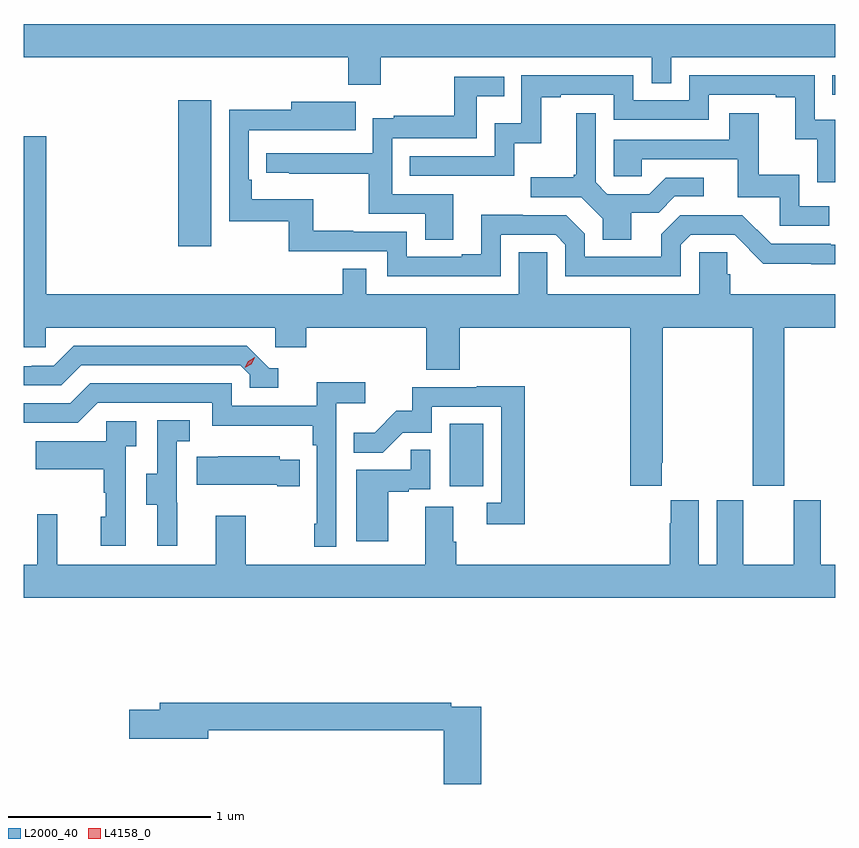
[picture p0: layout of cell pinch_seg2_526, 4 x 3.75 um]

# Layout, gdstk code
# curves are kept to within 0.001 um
import gdstk
lib = gdstk.Library(unit=1e-6, precision=1e-09)
def R(c, l, rs):  # rectangles x0, y0, x1, y1
    for r in rs: c.add(gdstk.rectangle(r[:2], r[2:], *l))
def P(c, l, *ps):  # polygons
    for p in ps: c.add(gdstk.Polygon(p, *l))
L2000_40 = (2000, 40)
L4158_0 = (4158, 0)

pinch_seg2_526 = lib.new_cell('pinch_seg2_526')
R(pinch_seg2_526, L2000_40, [(1119.296,612.222,1119.46,612.529), (1117.958,613.404,1118.119,614.125), (1121.179,614.151,1121.195,614.247)])
P(pinch_seg2_526, L2000_40, [(1118.955,614.336),(1120.29,614.336),(1120.29,614.209),(1120.386,614.209),(1120.386,614.336),(1121.195,614.336),(1121.195,614.5),(1117.195,614.5),(1117.195,614.336),(1118.795,614.336),(1118.795,614.201),(1118.955,614.201)],
  [(1121.195,614.028),(1121.094,614.028),(1121.094,614.247),(1120.476,614.247),(1120.476,614.124),(1120.2,614.124),(1120.2,614.247),(1119.648,614.247),(1119.648,614.011),(1119.516,614.011),(1119.516,613.848),(1119.097,613.848),(1119.097,613.752),(1119.612,613.752),(1119.612,613.913),(1119.745,613.913),(1119.745,614.139),(1119.841,614.139),(1119.841,614.151),(1120.104,614.151),(1120.104,614.028),(1120.572,614.028),(1120.572,614.151),(1120.901,614.151),(1120.901,614.139),(1120.997,614.139),(1120.997,613.931),(1121.106,613.931),(1121.106,613.719),(1121.195,613.719)],
  [(1119.313,613.662),(1119.012,613.662),(1119.012,613.938),(1119.429,613.938),(1119.429,614.144),(1119.563,614.144),(1119.563,614.241),(1119.318,614.241),(1119.318,614.047),(1119.019,614.047),(1119.019,614.035),(1118.916,614.035),(1118.916,613.863),(1118.391,613.863),(1118.391,613.767),(1118.503,613.767),(1118.503,613.762),(1118.896,613.762),(1118.896,613.566),(1119.173,613.566),(1119.173,613.438),(1119.313,613.438)],
  [(1119.546,613.461),(1119.816,613.461),(1119.864,613.413),(1119.864,613.257),(1120.434,613.257),(1120.434,613.413),(1120.482,613.461),(1120.698,613.461),(1120.84,613.319),(1121.076,613.319),(1121.076,613.317),(1121.195,613.317),(1121.195,613.413),(1121.171,613.413),(1121.171,613.416),(1120.878,613.416),(1120.737,613.557),(1120.431,613.557),(1120.337,613.463),(1120.337,613.353),(1119.96,613.353),(1119.96,613.467),(1119.87,613.557),(1119.654,613.557),(1119.654,613.559),(1119.449,613.559),(1119.449,613.366),(1119.353,613.366),(1119.353,613.353),(1119.084,613.353),(1119.084,613.476),(1118.819,613.476),(1118.819,613.481),(1118.623,613.481),(1118.623,613.636),(1118.318,613.636),(1118.318,613.732),(1118.304,613.732),(1118.304,613.977),(1118.831,613.976),(1118.831,614.116),(1118.513,614.116),(1118.513,614.078),(1118.208,614.078),(1118.208,613.527),(1118.502,613.527),(1118.502,613.38),(1118.988,613.38),(1118.988,613.257),(1119.546,613.257)],
  [(1120.189,613.57),(1120.324,613.57),(1120.404,613.65),(1120.546,613.65),(1120.546,613.743),(1120.358,613.743),(1120.277,613.662),(1120.071,613.662),(1120.014,613.719),(1120.014,614.059),(1119.917,614.059),(1119.917,613.756),(1119.906,613.756),(1119.906,613.744),(1119.693,613.744),(1119.693,613.647),(1119.942,613.647),(1120.049,613.54),(1120.049,613.438),(1120.189,613.438)],
  [(1121.164,613.602),(1121.016,613.602),(1121.016,613.756),(1120.817,613.756),(1120.817,614.059),(1120.673,614.059),(1120.673,613.929),(1120.104,613.929),(1120.104,613.749),(1120.241,613.749),(1120.241,613.833),(1120.715,613.833),(1120.715,613.647),(1120.92,613.647),(1120.92,613.506),(1121.164,613.506)],
  [(1119.774,613.376),(1119.635,613.376),(1119.635,613.168),(1118.883,613.168),(1118.883,613.295),(1118.767,613.295),(1118.767,613.168),(1117.307,613.168),(1117.307,613.947),(1117.195,613.947),(1117.195,612.906),(1117.305,612.906),(1117.305,613.004),(1118.436,613.004),(1118.436,612.906),(1118.588,612.906),(1118.588,613.004),(1119.179,613.004),(1119.179,612.796),(1119.344,612.796),(1119.344,613.004),(1120.184,613.004),(1120.184,612.225),(1120.339,612.225),(1120.339,612.337),(1120.344,612.337),(1120.344,613.004),(1120.789,613.004),(1120.789,612.225),(1120.944,612.225),(1120.944,613.004),(1121.195,613.004),(1121.195,613.168),(1120.676,613.168),(1120.676,613.266),(1120.661,613.266),(1120.661,613.376),(1120.524,613.376),(1120.524,613.168),(1119.774,613.168)],
  [(1118.449,612.804),(1118.406,612.804),(1118.295,612.915),(1117.442,612.915),(1117.343,612.816),(1117.236,612.816),(1117.236,612.813),(1117.195,612.813),(1117.195,612.72),(1117.38,612.72),(1117.479,612.819),(1118.262,612.819),(1118.31,612.771),(1118.31,612.708),(1118.449,612.708)],
  [(1118.736,612.632),(1118.878,612.632),(1118.878,612.734),(1118.639,612.734),(1118.639,612.618),(1118.22,612.618),(1118.22,612.729),(1117.523,612.729),(1117.424,612.63),(1117.195,612.63),(1117.195,612.534),(1117.461,612.534),(1117.56,612.633),(1118.124,612.633),(1118.124,612.521),(1118.62,612.521),(1118.62,612.425),(1118.64,612.425),(1118.64,612.037),(1118.628,612.037),(1118.628,611.925),(1118.736,611.925)],
  [(1119.665,612.716),(1119.427,612.716),(1119.427,612.711),(1119.109,612.711),(1119.109,612.594),(1119.032,612.594),(1118.925,612.487),(1118.821,612.487),(1118.821,612.388),(1118.965,612.388),(1119.063,612.486),(1119.207,612.486),(1119.207,612.615),(1119.549,612.615),(1119.549,612.141),(1119.477,612.141),(1119.477,612.036),(1119.665,612.036)],
  [(1117.952,612.141),(1117.95,612.141),(1117.95,612.445),(1118.014,612.445),(1118.014,612.548),(1117.854,612.548),(1117.854,612.285),(1117.799,612.285),(1117.799,612.13),(1117.853,612.13),(1117.853,611.928),(1117.952,611.928)],
  [(1117.698,612.419),(1117.75,612.419),(1117.75,612.543),(1117.602,612.543),(1117.602,612.445),(1117.255,612.445),(1117.255,612.305),(1117.59,612.305),(1117.59,612.191),(1117.6,612.191),(1117.6,612.072),(1117.574,612.072),(1117.574,611.928),(1117.698,611.928)],
  [(1118.992,612.195),(1119.092,612.195),(1119.092,612.207),(1119.198,612.207),(1119.198,612.401),(1119.103,612.401),(1119.103,612.303),(1118.834,612.303),(1118.834,611.952),(1118.992,611.952)],
  [(1118.555,612.352),(1118.457,612.352),(1118.457,612.37),(1118.155,612.37),(1118.155,612.367),(1118.047,612.367),(1118.047,612.23),(1118.444,612.23),(1118.444,612.223),(1118.555,612.223)],
  [(1121.195,611.836),(1121.122,611.836),(1121.122,612.154),(1120.991,612.154),(1120.991,611.836),(1120.741,611.836),(1120.741,612.154),(1120.61,612.154),(1120.61,611.836),(1120.522,611.836),(1120.522,612.154),(1120.385,612.154),(1120.385,612.041),(1120.379,612.041),(1120.379,611.836),(1119.326,611.836),(1119.326,611.948),(1119.313,611.948),(1119.313,612.122),(1119.173,612.122),(1119.173,611.836),(1118.289,611.836),(1118.289,612.076),(1118.141,612.076),(1118.141,611.836),(1117.361,611.836),(1117.361,612.085),(1117.263,612.085),(1117.263,611.836),(1117.195,611.836),(1117.195,611.672),(1121.195,611.672)],
  [(1119.449,611.136),(1119.302,611.136),(1119.302,611.156),(1117.865,611.156),(1117.865,611.12),(1117.716,611.12),(1117.716,610.978),(1118.104,610.978),(1118.104,611.02),(1119.266,611.02),(1119.266,610.755),(1119.449,610.755)])
P(pinch_seg2_526, L4158_0, [(1118.285,612.806),(1118.285,612.806),(1118.302,612.838),(1118.333,612.857),(1118.334,612.857),(1118.334,612.856),(1118.317,612.824),(1118.285,612.806)])

lib.write_gds('pinch_seg2_526.gds')
